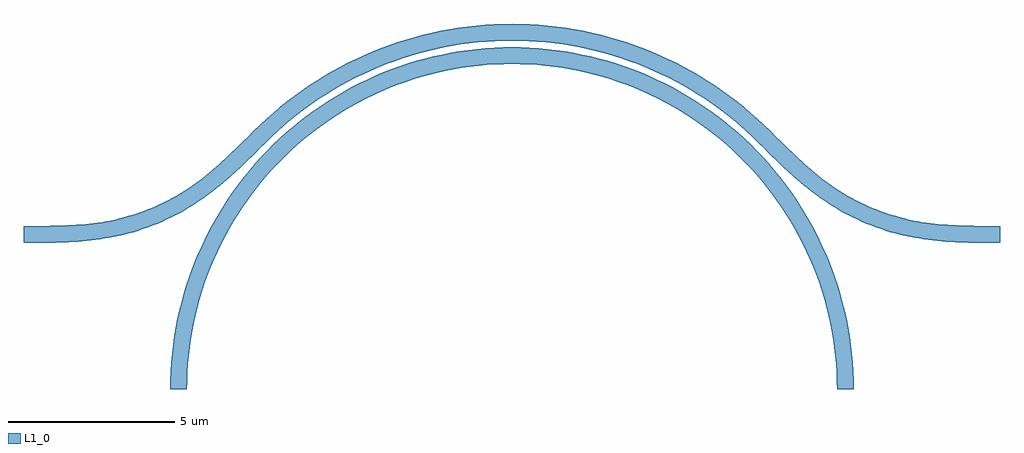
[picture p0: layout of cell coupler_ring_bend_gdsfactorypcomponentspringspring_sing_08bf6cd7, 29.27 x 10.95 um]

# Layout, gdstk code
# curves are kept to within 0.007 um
from math import pi, radians
import gdstk
lib = gdstk.Library(unit=1e-6, precision=1e-09)
def P(c, l, *ps):  # polygons
    for p in ps: c.add(gdstk.Polygon(p, *l))
L1_0 = (1, 0)

bend_circular_all_angle_ = lib.new_cell('bend_circular_all_angle_R10_A90_NNone_ASNone_LNone_WNon_5720d7b7')
P(bend_circular_all_angle_, L1_0, [(0,-0.25),(0,0.25),(0.502,0.263),(1.003,0.302),(1.5,0.366),(1.994,0.456),(2.483,0.571),(3.203,0.791),(3.673,0.968),(4.133,1.169),(4.582,1.394),(5.019,1.641),(5.649,2.053),(6.246,2.513),(6.805,3.018),(7.155,3.377),(7.487,3.754),(7.947,4.351),(8.359,4.981),(8.721,5.641),(9.032,6.327),(9.209,6.797),(9.361,7.275),(9.489,7.761),(9.592,8.252),(9.669,8.748),(9.721,9.248),(9.75,10),(10.25,10),(10.236,9.472),(10.196,8.946),(10.084,8.162),(9.976,7.646),(9.842,7.135),(9.681,6.632),(9.495,6.139),(9.169,5.417),(8.92,4.951),(8.649,4.499),(8.354,4.061),(8.037,3.639),(7.699,3.233),(7.341,2.846),(6.963,2.478),(6.566,2.129),(6.152,1.802),(5.722,1.496),(5.277,1.213),(4.817,0.953),(4.345,0.717),(3.861,0.505),(3.368,0.319),(2.865,0.158),(2.354,0.024),(1.838,-0.084),(1.054,-0.196),(0.528,-0.236)])

c_bend_circular_all_angle_ = lib.new_cell('bend_circular_all_angle_R10p7_A45_NNone_ASNone_LNone_WN_3dcfabd4')
P(c_bend_circular_all_angle_, L1_0, [(0,-0.25),(0,0.25),(0.513,0.263),(1.024,0.3),(1.533,0.363),(2.29,0.504),(2.787,0.629),(3.278,0.777),(3.999,1.045),(4.468,1.253),(5.151,1.608),(5.591,1.871),(6.017,2.156),(6.429,2.462),(6.826,2.787),(7.389,3.311),(7.743,2.957),(7.354,2.587),(6.947,2.236),(6.523,1.905),(6.084,1.595),(5.629,1.308),(5.162,1.043),(4.682,0.801),(4.19,0.584),(3.689,0.39),(3.179,0.221),(2.661,0.078),(2.136,-0.04),(1.607,-0.132),(1.073,-0.197),(0.537,-0.237)])

bend_euler_gdsfactorypco = lib.new_cell('bend_euler_gdsfactorypcomponentspbendspbend_euler_RNone_04a6bc98')
P(bend_euler_gdsfactorypco, L1_0, [(6.805,-3.179),(6.136,-3.172),(5.462,-3.141),(4.92,-3.089),(4.649,-3.05),(4.229,-2.969),(3.785,-2.856),(3.35,-2.713),(2.924,-2.542),(2.647,-2.413),(2.242,-2.197),(1.981,-2.039),(1.517,-1.716),(1.196,-1.463),(0.886,-1.199),(0.393,-0.74),(-0.177,-0.177),(0.177,0.177),(0.74,-0.38),(1.121,-0.737),(1.513,-1.078),(1.921,-1.393),(2.37,-1.691),(2.741,-1.9),(3.125,-2.085),(3.654,-2.29),(4.062,-2.414),(4.338,-2.481),(4.728,-2.556),(5.111,-2.608),(5.497,-2.642),(6.018,-2.668),(7.071,-2.678),(7.071,-3.179)])

coupler_bend_gdsfactoryp = lib.new_cell('coupler_bend_gdsfactorypcomponentspringspring_single_be_881e6e7a')
coupler_bend_gdsfactoryp.add(gdstk.Reference(bend_circular_all_angle_, (0,0.7)))
coupler_bend_gdsfactoryp.add(gdstk.Reference(c_bend_circular_all_angle_, (0,0)))
coupler_bend_gdsfactoryp.add(gdstk.Reference(bend_euler_gdsfactorypco, (7.566,3.134), x_reflection=True))

straight_gdsfactorypcomp = lib.new_cell('straight_gdsfactorypcomponentspwaveguidespstraight_L0_N_6819b7a0')

coupler_ring_bend_gdsfac = lib.new_cell('coupler_ring_bend_gdsfactorypcomponentspringspring_sing_08bf6cd7')
coupler_ring_bend_gdsfac.add(gdstk.Reference(coupler_bend_gdsfactoryp, (0,0), x_reflection=True))
coupler_ring_bend_gdsfac.add(gdstk.Reference(coupler_bend_gdsfactoryp, (0,0), rotation=pi))
coupler_ring_bend_gdsfac.add(gdstk.Reference(straight_gdsfactorypcomp, (0,-0.7)))
coupler_ring_bend_gdsfac.add(gdstk.Reference(straight_gdsfactorypcomp, (0,0)))

lib.write_gds('coupler_ring_bend_gdsfactorypcomponentspringspring_sing_08bf6cd7.gds')
